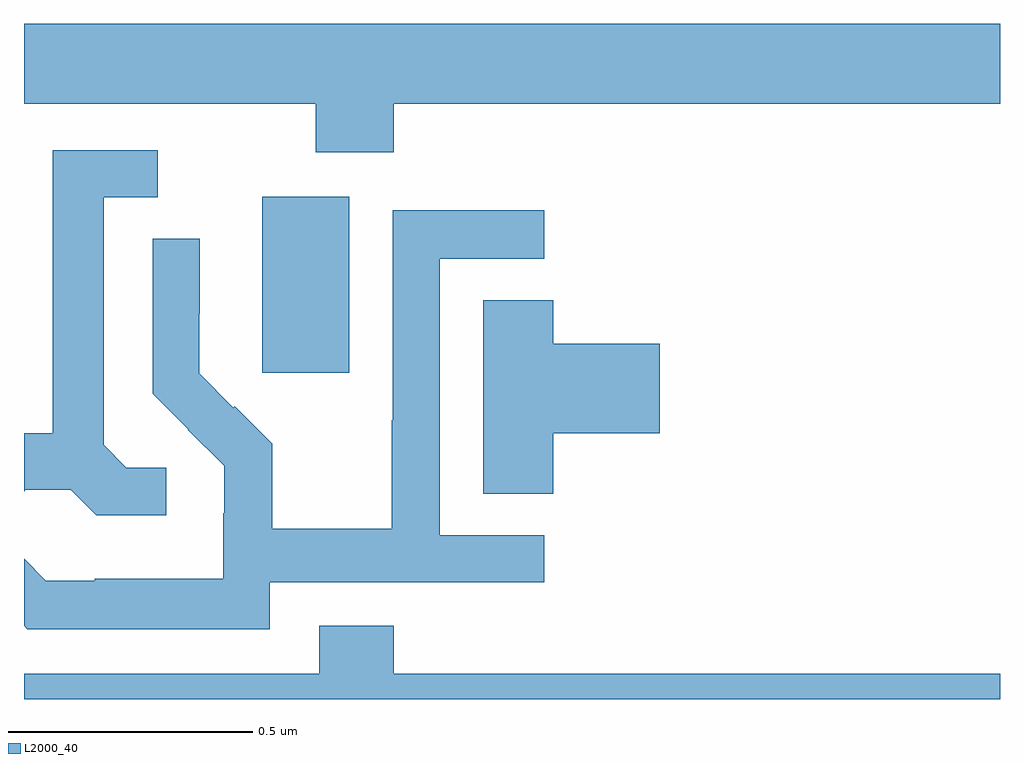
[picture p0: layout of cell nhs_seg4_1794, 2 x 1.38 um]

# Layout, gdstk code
import gdstk
lib = gdstk.Library(unit=1e-6, precision=1e-09)
def R(c, l, rs):  # rectangles x0, y0, x1, y1
    for r in rs: c.add(gdstk.rectangle(r[:2], r[2:], *l))
def P(c, l, *ps):  # polygons
    for p in ps: c.add(gdstk.Polygon(p, *l))
L2000_40 = (2000, 40)

nhs_seg4_1794 = lib.new_cell('nhs_seg4_1794')
R(nhs_seg4_1794, L2000_40, [(132.488,829.569,132.667,829.93)])
P(nhs_seg4_1794, L2000_40, [(132.758,830.12),(134,830.12),(134,830.284),(132,830.284),(132,830.12),(132.598,830.12),(132.598,830.021),(132.758,830.021)],
  [(132.292,829.374),(132.21,829.374),(132.163,829.421),(132.163,829.929),(132.274,829.929),(132.274,830.025),(132.059,830.025),(132.059,829.445),(132,829.445),(132,829.326),(132.002,829.326),(132.002,829.329),(132.096,829.329),(132.148,829.277),(132.292,829.277)],
  [(132.504,829.14),(133.066,829.14),(133.066,829.236),(132.852,829.236),(132.852,829.803),(133.066,829.803),(133.066,829.902),(132.756,829.902),(132.756,829.472),(132.754,829.472),(132.754,829.249),(132.509,829.249),(132.509,829.423),(132.432,829.5),(132.429,829.497),(132.359,829.568),(132.359,829.69),(132.36,829.69),(132.36,829.844),(132.264,829.844),(132.264,829.526),(132.337,829.453),(132.336,829.452),(132.41,829.378),(132.41,829.281),(132.408,829.281),(132.408,829.147),(132.145,829.147),(132.145,829.143),(132.045,829.143),(132,829.188),(132,829.05),(132.007,829.043),(132.504,829.043)],
  [(133.085,829.445),(133.303,829.445),(133.303,829.628),(133.085,829.628),(133.085,829.718),(132.941,829.718),(132.941,829.321),(133.085,829.321)],
  [(134,828.952),(132.758,828.952),(132.758,829.051),(132.605,829.051),(132.605,828.952),(132,828.952),(132,828.9),(134,828.9)])

lib.write_gds('nhs_seg4_1794.gds')
